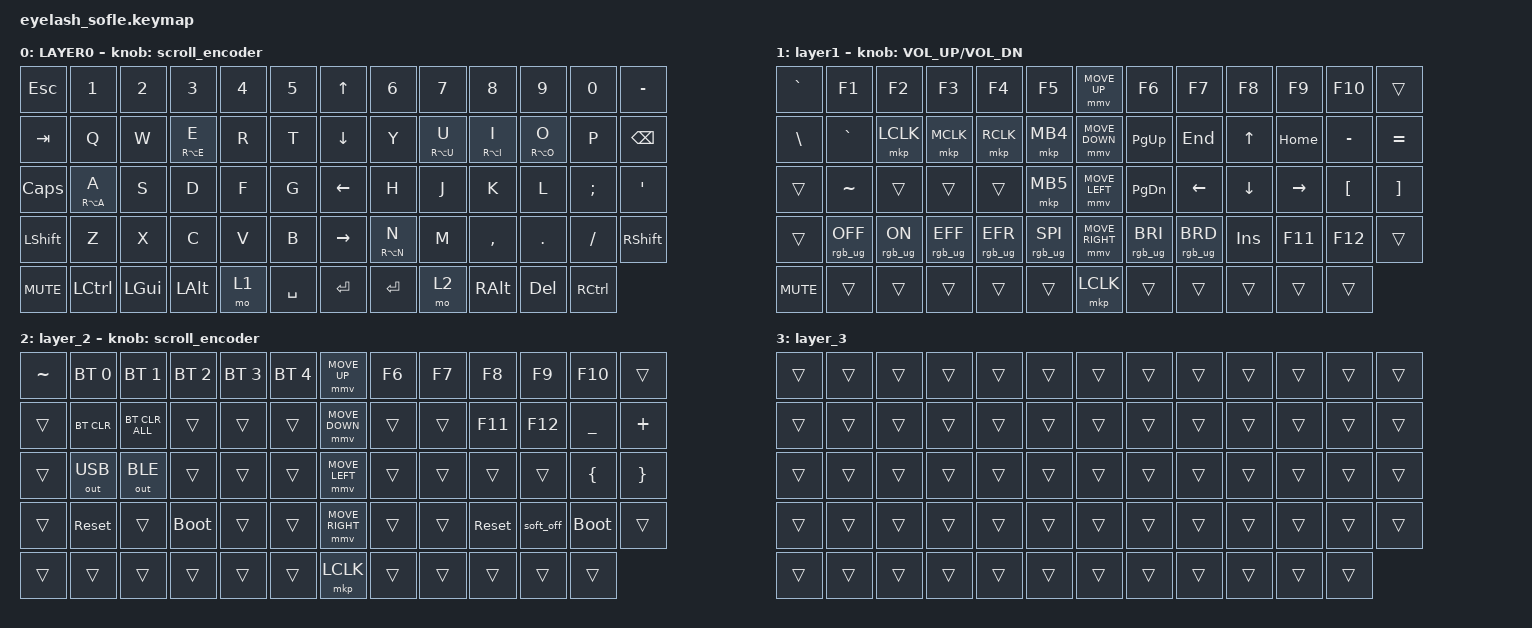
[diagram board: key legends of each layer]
#define ZMK_POINTING_DEFAULT_MOVE_VAL 1200  // 600
#define ZMK_POINTING_DEFAULT_SCRL_VAL 35    // 10

#include <input/processors.dtsi>
#include <zephyr/dt-bindings/input/input-event-codes.h>
#include <behaviors.dtsi>
#include <dt-bindings/zmk/bt.h>
#include <dt-bindings/zmk/keys.h>
#include <dt-bindings/zmk/outputs.h>
#include <dt-bindings/zmk/pointing.h>
#include <dt-bindings/zmk/rgb.h>

/ {
    zip_scroll_scaler: zip_scroll_scaler {
        compatible = "zmk,input-processor-scaler";
        #input-processor-cells = <2>;
        type = <INPUT_EV_REL>;
        codes = <INPUT_REL_WHEEL INPUT_REL_HWHEEL>;
        track-remainders;
    };
};

&mmv_input_listener { input-processors = <&zip_xy_scaler 2 1>; };

&msc_input_listener { input-processors = <&zip_scroll_scaler 2 1>; };

&msc {
    acceleration-exponent = <0>;      // 0
    time-to-max-speed-ms = <0>;       // 300
    delay-ms = <0>;                   // 0
};

&mmv {
    time-to-max-speed-ms = <400>;
    acceleration-exponent = <1>;
};

/ {
    scroll_encoder: scroll_encoder {
        compatible = "zmk,behavior-sensor-rotate";
        #sensor-binding-cells = <0>;
        bindings = <&msc SCRL_DOWN>, <&msc SCRL_UP>;

        tap-ms = <100>;
    };

    tilde_behavior: tilde_behavior {
        compatible = "zmk,behavior-hold-tap";
        label = "TILDE_BEHAVIOR";
        bindings = <&kp>, <&kp>;

        #binding-cells = <2>;
        tapping-term-ms = <200>;
        quick-tap-ms = <0>;
        flavor = "tap-preferred";
    };

    macros {
        shift_MB3: shift_MB3 {
            compatible = "zmk,behavior-macro";
            #binding-cells = <0>;
            bindings =
                <&macro_press>,
                <&kp LEFT_SHIFT>,
                <&macro_press>,
                <&mkp MB3>,
                <&macro_pause_for_release>,
                <&macro_release>,
                <&mkp MB3 &kp LEFT_SHIFT>;

            label = "SHIFT_MB3";
        };
    };

    behaviors {
    };

    keymap {
        compatible = "zmk,keymap";

        layer0 {
            bindings = <
&kp ESC     &kp N1                   &kp N2        &kp N3                   &kp N4  &kp N5       &kp UP_ARROW     &kp N6                   &kp N7                   &kp N8                   &kp N9                   &kp N0     &kp MINUS
&kp TAB     &kp Q                    &kp W         &tilde_behavior RA(E) E  &kp R   &kp T        &kp DOWN_ARROW   &kp Y                    &tilde_behavior RA(U) U  &tilde_behavior RA(I) I  &tilde_behavior RA(O) O  &kp P      &kp BACKSPACE
&kp CAPS    &tilde_behavior RA(A) A  &kp S         &kp D                    &kp F   &kp G        &kp LEFT_ARROW   &kp H                    &kp J                    &kp K                    &kp L                    &kp SEMI   &kp APOS
&kp LSHFT   &kp Z                    &kp X         &kp C                    &kp V   &kp B        &kp RIGHT_ARROW  &tilde_behavior RA(N) N  &kp M                    &kp COMMA                &kp DOT                  &kp SLASH  &kp RIGHT_SHIFT
&kp C_MUTE  &kp LCTRL                &kp LEFT_GUI  &kp LEFT_ALT             &mo 1   &kp SPACE    &kp ENTER        &kp ENTER                &mo 2                    &kp RIGHT_ALT            &kp DELETE               &kp RCTRL
            >;

            sensor-bindings = <&scroll_encoder>;
            display-name = "LAYER0";
        };

        layer_1 {
            bindings = <
&kp GRAVE      &kp F1           &kp F2          &kp F3           &kp F4           &kp F5             &mmv MOVE_UP     &kp F6           &kp F7           &kp F8      &kp F9     &kp F10           &trans
&kp BACKSLASH  &kp GRAVE        &mkp LCLK       &mkp MCLK        &mkp RCLK        &mkp MB4           &mmv MOVE_DOWN   &kp PG_UP        &kp END          &kp UP      &kp HOME   &kp MINUS         &kp EQUAL
&trans         &kp TILDE        &trans          &trans           &trans           &mkp MB5           &mmv MOVE_LEFT   &kp PG_DN        &kp LEFT         &kp DOWN    &kp RIGHT  &kp LEFT_BRACKET  &kp RIGHT_BRACKET
&trans         &rgb_ug RGB_OFF  &rgb_ug RGB_ON  &rgb_ug RGB_EFF  &rgb_ug RGB_EFR  &rgb_ug RGB_SPI    &mmv MOVE_RIGHT  &rgb_ug RGB_BRI  &rgb_ug RGB_BRD  &kp INSERT  &kp F11    &kp F12           &trans
&kp C_MUTE     &trans           &trans          &trans           &trans           &trans             &mkp LCLK        &trans           &trans           &trans      &trans     &trans
            >;

            display-name = "layer1";
            sensor-bindings = <&inc_dec_kp C_VOLUME_UP C_VOL_DN>;
        };

        layer_2 {
            bindings = <
&kp TILDE  &bt BT_SEL 0  &bt BT_SEL 1    &bt BT_SEL 2  &bt BT_SEL 3  &bt BT_SEL 4    &mmv MOVE_UP     &kp F6  &kp F7  &kp F8      &kp F9     &kp F10      &trans
&trans     &bt BT_CLR    &bt BT_CLR_ALL  &trans        &trans        &trans          &mmv MOVE_DOWN   &trans  &trans  &kp F11     &kp F12    &kp UNDER    &kp PLUS
&trans     &out OUT_USB  &out OUT_BLE    &trans        &trans        &trans          &mmv MOVE_LEFT   &trans  &trans  &trans      &trans     &kp LBRC     &kp RBRC
&trans     &sys_reset    &trans          &bootloader   &trans        &trans          &mmv MOVE_RIGHT  &trans  &trans  &sys_reset  &soft_off  &bootloader  &trans
&trans     &trans        &trans          &trans        &trans        &trans          &mkp LCLK        &trans  &trans  &trans      &trans     &trans
            >;

            sensor-bindings = <&scroll_encoder>;
        };

        layer_3 {
            bindings = <
&trans  &trans  &trans  &trans  &trans  &trans    &trans  &trans  &trans  &trans  &trans  &trans  &trans
&trans  &trans  &trans  &trans  &trans  &trans    &trans  &trans  &trans  &trans  &trans  &trans  &trans
&trans  &trans  &trans  &trans  &trans  &trans    &trans  &trans  &trans  &trans  &trans  &trans  &trans
&trans  &trans  &trans  &trans  &trans  &trans    &trans  &trans  &trans  &trans  &trans  &trans  &trans
&trans  &trans  &trans  &trans  &trans  &trans    &trans  &trans  &trans  &trans  &trans  &trans
            >;
        };
    };
};
